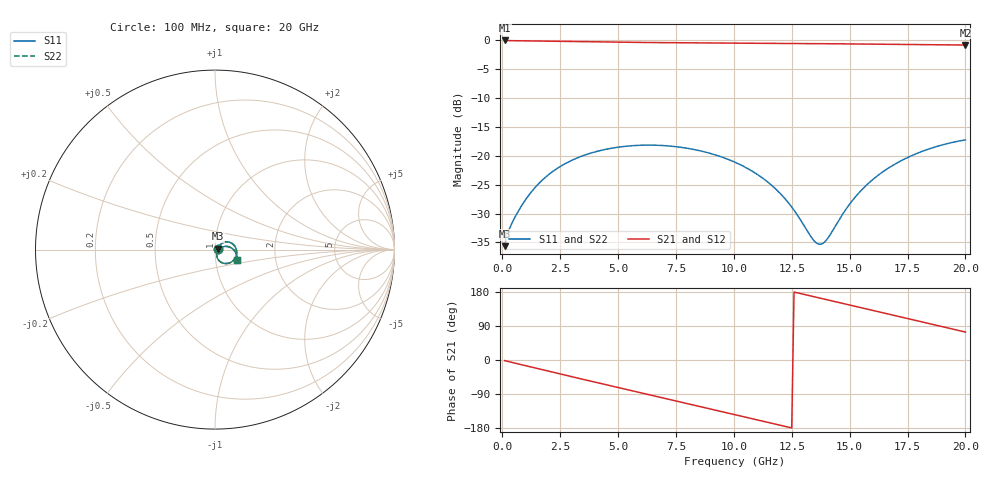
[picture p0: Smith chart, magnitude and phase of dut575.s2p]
! Touchstone file exported from HFSS 2026.1.0
!  File:  C:/ffzhzh/LocalFiles/Ansys_Project_Files/temp_train_TSV_RDL_575_1783118319_46604.aedt
!  Generated:  06:46:09 AM Jul  4, 2026
!  Design:  TSV_RDL
!  Project:  temp_train_TSV_RDL_575_1783118319_46604
! Variables:
!  h_bsmrdl = 3.96um
!  h_ox = 20um
!  h_rdl = 5um
!  h_sub = 53.9um
!  h_tmrdl = 5.62um
!  h_tsv = 53.9um
!  h_via = 3um
!  l_bsmrdl = 530.99um
!  l_sub = 4886.94um
!  l_tmrdl = 688.4um
!  m_sub = 200um
!  pitch = 34.12um
!  r_tsv = 14.15um
!  s_tmrdl = 10um
!  w_bsmrdl = 19um
!  w_sub = 500um
!  w_tmrdl = 27.79um
!  x_tsv_center1 = 702.295um
!  x_tsv_center2 = 1252.285um
!  x_tsv_center3 = 1968.475um
!  x_tsv_center4 = 2518.465um
!  x_tsv_center5 = 3234.655um
!  x_tsv_center6 = 3784.645um
# GHz S MA R 50.000000
! Terminal data exported
! Port[1] = TM_RDL1_1_T1
! Port[2] = TM_RDL5_1_T1
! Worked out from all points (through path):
!   200 points, 100 MHz to 20 GHz, reference 50 ohm
!   highest |S21| = -0.14 dB at 100 MHz (marker M1); lowest = -0.9 dB at 20 GHz (marker M2)
!   group delay of S21, straight-line fit = 39.6 ps
!   lowest |S11| = -35.6 dB at 100 MHz (marker M3), VSWR 1.03, Z = 51.6 + j0.567 ohm
!   |S11| at or under -10 dB: start of sweep to end of sweep
!   |S22| runs from -35.6 to -17.3 dB; largest |S21 - S12| = 3.4e-14
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0.1  0.01652 19.4  0.9846 -1.6  0.9846 -1.6  0.01652 19.4
! Gamma 0 0 0 0
! Port Impedance 50 0 50 0
0.3  0.02308 31.2  0.9811 -4.7  0.9811 -4.7  0.02308 31.2
0.5  0.0282 36.5  0.9793 -7.6  0.9793 -7.6  0.0282 36.5
1.4  0.05259 42.0  0.9744 -20.8  0.9744 -20.8  0.05259 42.0
2.3  0.0758 34.6  0.9684 -33.9  0.9684 -33.9  0.0758 34.6
3.5  0.09998 20.5  0.96 -51.2  0.96 -51.2  0.09998 20.5
4.4  0.1125 9.2  0.9544 -64.1  0.9544 -64.1  0.1125 9.2
5.2  0.1195 -0.9  0.95 -75.5  0.95 -75.5  0.1195 -0.9
6.8  0.1224 -21.0  0.9432 -98.2  0.9432 -98.2  0.1225 -21.0
8.4  0.1115 -40.5  0.9383 -120.8  0.9383 -120.8  0.1115 -40.6
10.1  0.08665 -59.8  0.934 -145.0  0.934 -145.0  0.08665 -59.9
11.1  0.06697 -69.2  0.9316 -159.3  0.9316 -159.3  0.06694 -69.4
11.9  0.04944 -74.1  0.9295 -170.7  0.9295 -170.7  0.04938 -74.4
12.6  0.03376 -73.0  0.9275 179.3  0.9275 179.3  0.03363 -73.5
13.4  0.01907 -49.9  0.9249 167.9  0.9249 167.9  0.01875 -50.5
13.7  0.01713 -29.2  0.9239 163.6  0.9239 163.6  0.01673 -29.4
13.9  0.01779 -14.5  0.9232 160.7  0.9232 160.7  0.01738 -14.2
15.3  0.04522 19.5  0.9179 140.7  0.9179 140.7  0.04501 20.1
16.7  0.07852 11.3  0.9122 120.8  0.9122 120.8  0.07838 11.7
17.6  0.09814 2.4  0.9084 107.9  0.9084 107.9  0.09803 2.8
18.4  0.1136 -6.2  0.9051 96.5  0.9051 96.5  0.1135 -5.9
20  0.1365 -24.6  0.8991 73.8  0.8991 73.8  0.1365 -24.3
